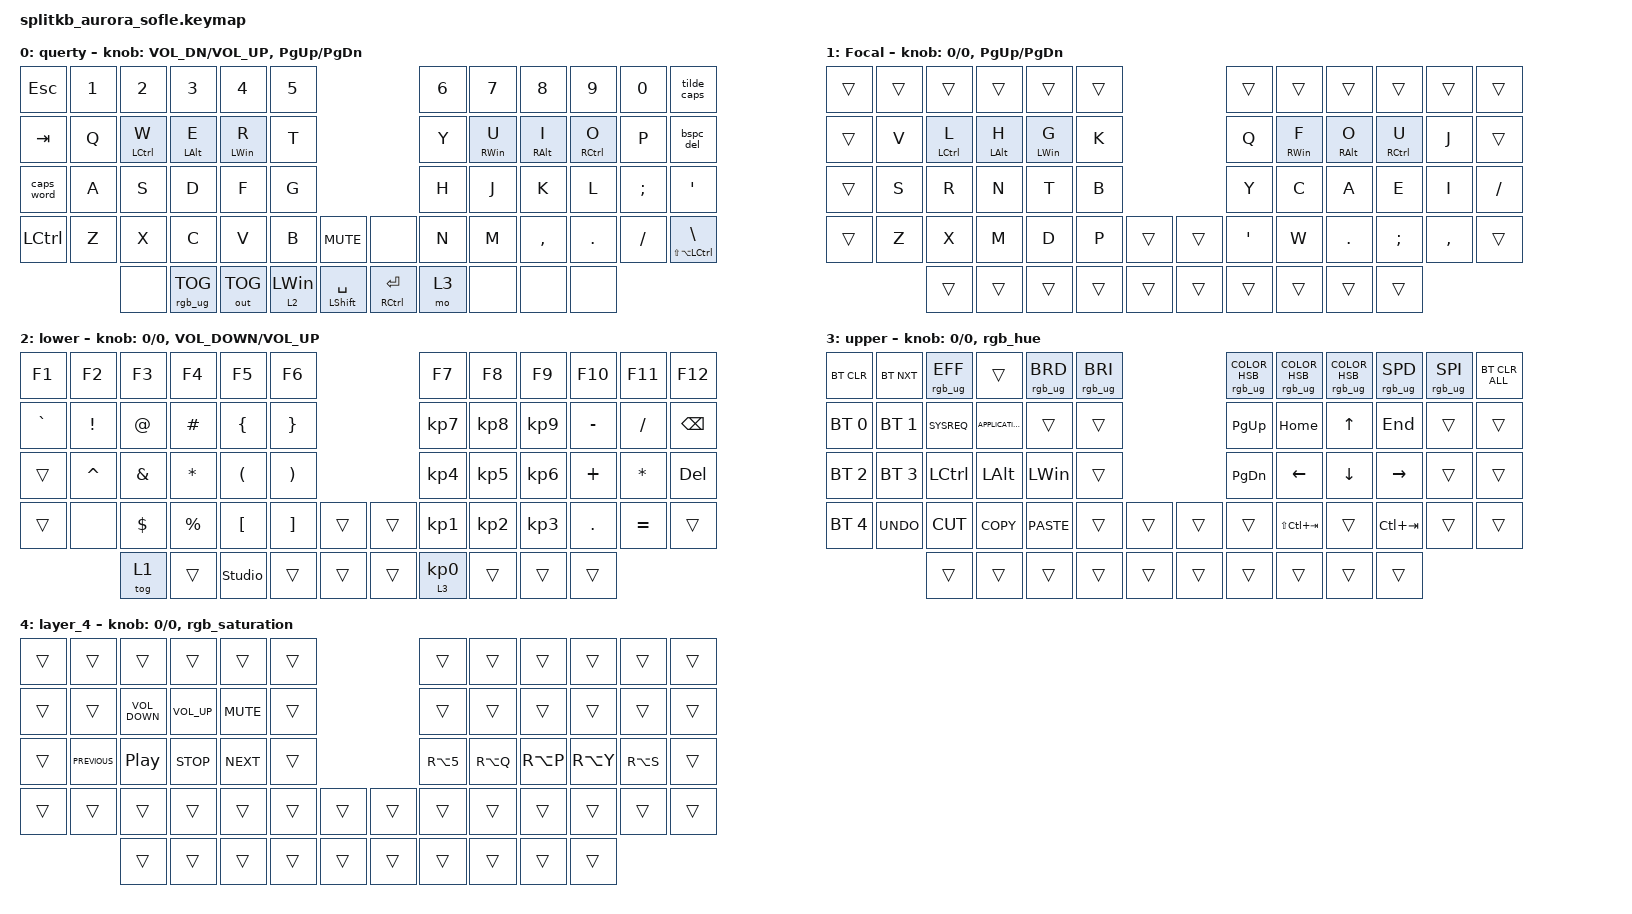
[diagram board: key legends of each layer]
/*
 * Copyright (c) 2020 The ZMK Contributors
 *
 * SPDX-License-Identifier: MIT
 */

#include <behaviors.dtsi>
#include <dt-bindings/zmk/bt.h>
#include <dt-bindings/zmk/keys.h>
#include <dt-bindings/zmk/outputs.h>
#include <dt-bindings/zmk/rgb.h>

&led_strip { chain-length = <35>; };

/ {
    conditional_layers {
        compatible = "zmk,conditional-layers";

        tri_layer {
            if-layers = <2 3>;
            then-layer = <4>;
        };
    };

    behaviors {
        bspc_del: backspace_delete {
            compatible = "zmk,behavior-mod-morph";
            label = "BACKSPACE_DELETE";
            #binding-cells = <0>;
            bindings = <&kp BACKSPACE>, <&kp DELETE>;

            mods = <(MOD_LSFT|MOD_RSFT)>;
            keep-mods = <(MOD_RSFT)>;
        };

        tilde_caps: tilde_caps {
            compatible = "zmk,behavior-mod-morph";
            label = "TILDE_CAPS";
            #binding-cells = <0>;
            bindings = <&kp TILDE>, <&caps_word>;

            mods = <(MOD_LSFT|MOD_RSFT)>;
        };

        rgb_brightness: rgb_brightness {
            compatible = "zmk,behavior-sensor-rotate";
            label = "RGB_BRIGHTNESS";
            #sensor-binding-cells = <0>;
            bindings = <&rgb_ug RGB_BRD>, <&rgb_ug RGB_BRI>;
        };

        rgb_hue: rgb_hue {
            compatible = "zmk,behavior-sensor-rotate";
            label = "RGB_HUE";
            #sensor-binding-cells = <0>;
            bindings = <&rgb_ug RGB_HUI>, <&rgb_ug RGB_HUD>;
        };

        rgb_saturation: rgb_saturation {
            compatible = "zmk,behavior-sensor-rotate";
            label = "RGB_SATURATION";
            #sensor-binding-cells = <0>;
            bindings = <&rgb_ug RGB_SAD>, <&rgb_ug RGB_SAI>;
        };

        lh_pht: lh_pht {
            compatible = "zmk,behavior-hold-tap";
            label = "Left hand hold tap";
            bindings = <&kp>, <&kp>;

            #binding-cells = <2>;
            tapping-term-ms = <100>;
            flavor = "tap-unless-interrupted";
            quick-tap-ms = <200>;
            hold-trigger-key-positions = <55 43 56 44 30 6 7 8 9 10 11 19 20 21 22 23 31 32 33 34 35 45 46 47 48 49 57 58 59 18>;
        };

        rh_pht: rh_pht {
            compatible = "zmk,behavior-hold-tap";
            label = "Right hand hold tap";
            bindings = <&kp>, <&kp>;

            #binding-cells = <2>;
            tapping-term-ms = <100>;
            quick-tap-ms = <200>;
            flavor = "tap-unless-interrupted";
            retro-tap;
            hold-trigger-key-positions = <0 1 2 4 5 12 13 14 15 16 17 24 25 26 27 28 29 36 37 38 39 40 41 50 51 52 53 3 54 42>;
        };

        br_pht: br_pht {
            compatible = "zmk,behavior-hold-tap";
            label = "Bottom row hold tap";
            bindings = <&kp>, <&kp>;

            #binding-cells = <2>;
            tapping-term-ms = <300>;
            quick-tap-ms = <500>;
            flavor = "tap-unless-interrupted";
        };
    };

    keymap {
        compatible = "zmk,keymap";

        querty {
            bindings = <
&kp ESCAPE        &kp N1  &kp N2                  &kp N3              &kp N4              &kp N5                                                                   &kp N6  &kp N7               &kp N8               &kp N9                   &kp N0    &tilde_caps
&kp TAB           &kp Q   &lh_pht LEFT_CONTROL W  &lh_pht LEFT_ALT E  &lh_pht LEFT_WIN R  &kp T                                                                    &kp Y   &rh_pht RIGHT_WIN U  &rh_pht RIGHT_ALT I  &rh_pht RIGHT_CONTROL O  &kp P     &bspc_del
&caps_word        &kp A   &kp S                   &kp D               &kp F               &kp G                                                                    &kp H   &kp J                &kp K                &kp L                    &kp SEMI  &kp SQT
&kp LEFT_CONTROL  &kp Z   &kp X                   &kp C               &kp V               &kp B           &kp C_MUTE                  &none                        &kp N   &kp M                &kp COMMA            &kp DOT                  &kp FSLH  &mt LS(LA(LCTRL)) BACKSLASH
                          &none                   &rgb_ug RGB_TOG     &out OUT_TOG        &lt 2 LEFT_WIN  &br_pht LEFT_SHIFT SPACE    &br_pht RIGHT_CONTROL ENTER  &mo 3   &none                &none                &none
            >;

            sensor-bindings = <&inc_dec_kp C_VOL_DN C_VOL_UP &inc_dec_kp PG_UP PG_DN>;
        };

        Focal {
            bindings = <
&trans  &trans  &trans                  &trans              &trans              &trans                    &trans   &trans               &trans               &trans                   &trans     &trans
&trans  &kp V   &lh_pht LEFT_CONTROL L  &lh_pht LEFT_ALT H  &lh_pht LEFT_WIN G  &kp K                     &kp Q    &rh_pht RIGHT_WIN F  &rh_pht RIGHT_ALT O  &rh_pht RIGHT_CONTROL U  &kp J      &trans
&trans  &kp S   &kp R                   &kp N               &kp T               &kp B                     &kp Y    &kp C                &kp A                &kp E                    &kp I      &kp SLASH
&trans  &kp Z   &kp X                   &kp M               &kp D               &kp P   &trans    &trans  &kp SQT  &kp W                &kp DOT              &kp SEMI                 &kp COMMA  &trans
                &trans                  &trans              &trans              &trans  &trans    &trans  &trans   &trans               &trans               &trans
            >;

            sensor-bindings =
                <&inc_dec_kp 0 0>,
                <&inc_dec_kp PAGE_UP PAGE_DOWN>;
        };

        lower {
            bindings = <
&kp F1     &kp F2           &kp F3         &kp F4        &kp F5                &kp F6                                   &kp F7             &kp F8           &kp F9           &kp F10     &kp F11       &kp F12
&kp GRAVE  &kp EXCLAMATION  &kp AT         &kp HASH      &kp LEFT_BRACE        &kp RIGHT_BRACE                          &kp KP_NUMBER_7    &kp KP_NUMBER_8  &kp KP_NUMBER_9  &kp MINUS   &kp SLASH     &kp BACKSPACE
&trans     &kp CARET        &kp AMPERSAND  &kp ASTERISK  &kp LEFT_PARENTHESIS  &kp RIGHT_PARENTHESIS                    &kp KP_NUMBER_4    &kp KP_NUMBER_5  &kp KP_NUMBER_6  &kp PLUS    &kp ASTERISK  &kp DELETE
&trans     &none            &kp DOLLAR     &kp PERCENT   &kp LEFT_BRACKET      &kp RIGHT_BRACKET      &trans    &trans  &kp KP_NUMBER_1    &kp KP_NUMBER_2  &kp KP_NUMBER_3  &kp PERIOD  &kp EQUAL     &trans
                            &tog 1         &trans        &studio_unlock        &trans                 &trans    &trans  &lt 3 KP_NUMBER_0  &trans           &trans           &trans
            >;

            sensor-bindings =
                <&inc_dec_kp 0 0>,
                <&inc_dec_kp C_VOLUME_DOWN C_VOL_UP>;
        };

        upper {
            bindings = <
&bt BT_CLR    &bt BT_NXT    &rgb_ug RGB_EFF   &trans             &rgb_ug RGB_BRD  &rgb_ug RGB_BRI                    &rgb_ug RGB_COLOR_HSB(38,81,46)  &rgb_ug RGB_COLOR_HSB(166,80,47)  &rgb_ug RGB_COLOR_HSB(233,82,48)  &rgb_ug RGB_SPD  &rgb_ug RGB_SPI  &bt BT_CLR_ALL
&bt BT_SEL 0  &bt BT_SEL 1  &kp SYSREQ        &kp K_APPLICATION  &trans           &trans                             &kp PG_UP                        &kp HOME                          &kp UP                            &kp END          &trans           &trans
&bt BT_SEL 2  &bt BT_SEL 3  &kp LEFT_CONTROL  &kp LEFT_ALT       &kp LEFT_WIN     &trans                             &kp PG_DN                        &kp LEFT                          &kp DOWN                          &kp RIGHT        &trans           &trans
&bt BT_SEL 4  &kp K_UNDO    &kp K_CUT         &kp K_COPY         &kp K_PASTE      &trans           &trans    &trans  &trans                           &kp LS(LC(TAB))                   &trans                            &kp LC(TAB)      &trans           &trans
                            &trans            &trans             &trans           &trans           &trans    &trans  &trans                           &trans                            &trans                            &trans
            >;

            sensor-bindings = <&inc_dec_kp 0 0>, <&rgb_hue>;
        };

        layer_4 {
            bindings = <
&trans  &trans          &trans             &trans        &trans      &trans                    &trans      &trans     &trans     &trans     &trans     &trans
&trans  &trans          &kp C_VOLUME_DOWN  &kp C_VOL_UP  &kp K_MUTE  &trans                    &trans      &trans     &trans     &trans     &trans     &trans
&trans  &kp C_PREVIOUS  &kp C_PLAY_PAUSE   &kp C_STOP    &kp C_NEXT  &trans                    &kp RA(N5)  &kp RA(Q)  &kp RA(P)  &kp RA(Y)  &kp RA(S)  &trans
&trans  &trans          &trans             &trans        &trans      &trans  &trans    &trans  &trans      &trans     &trans     &trans     &trans     &trans
                        &trans             &trans        &trans      &trans  &trans    &trans  &trans      &trans     &trans     &trans
            >;

            sensor-bindings = <&inc_dec_kp 0 0>, <&rgb_saturation>;
        };
    };
};
